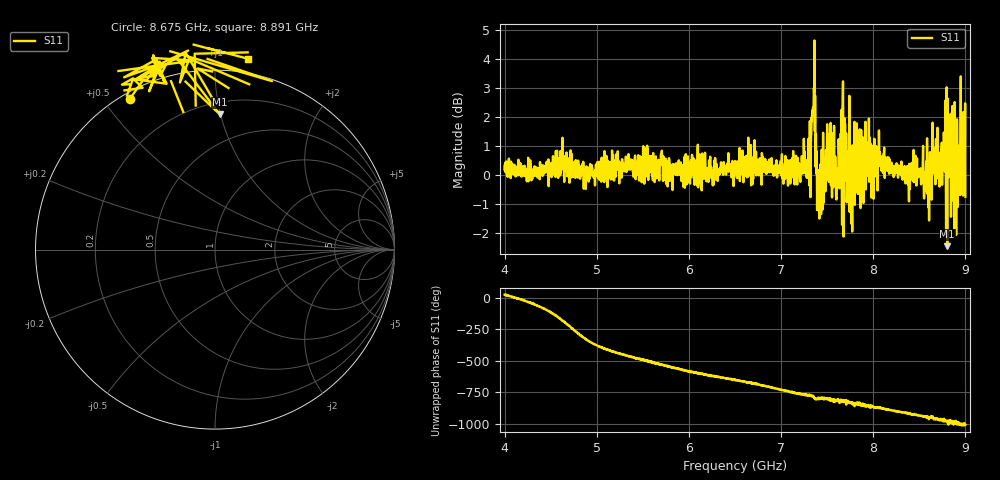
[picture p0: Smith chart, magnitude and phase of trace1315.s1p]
! Created with skrf 1.8.0 (http://scikit-rf.org).
# Hz S RI R 50.0
!freq ReS11 ImS11
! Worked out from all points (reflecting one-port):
!   1601 points, 4 GHz to 9 GHz, reference 50 ohm
!   lowest |S11| = -2.4 dB at 8.803 GHz (marker M1), VSWR 7.15, Z = 14.2 + j49.7 ohm
!   phase of S11 starts at 26 deg and turns -1034 deg over the sweep
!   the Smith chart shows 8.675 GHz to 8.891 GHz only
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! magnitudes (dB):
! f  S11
! 4 GHz  0.2
! 4.625 GHz  0.8
! 4.897 GHz  -0.1
! 5.25 GHz  0.3
! 5.875 GHz  0.0
! 6.5 GHz  0.5
! 7.125 GHz  0.6
! 7.294 GHz  -0.1
! 7.347 GHz  2.3
! 7.362 GHz  4.6
! 7.397 GHz  -0.7
! 7.412 GHz  -0.2
! 7.512 GHz  0.8
! 7.619 GHz  0.2
! 7.669 GHz  2.7
! 7.75 GHz  0.7
! 7.784 GHz  -0.4
! 7.834 GHz  -0.7
! 7.928 GHz  1.1
! 8.375 GHz  -0.3
! 8.434 GHz  0.3
! 8.612 GHz  0.3
! 8.662 GHz  0.7
! 8.803 GHz  -2.4
! 8.834 GHz  1.8
! 8.919 GHz  -0.3
! 8.972 GHz  0.7
! 9 GHz  -0.7
